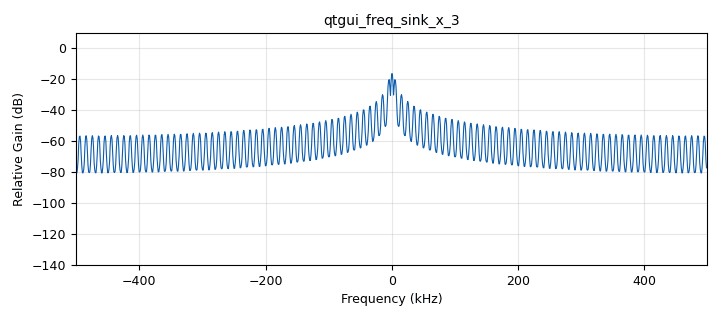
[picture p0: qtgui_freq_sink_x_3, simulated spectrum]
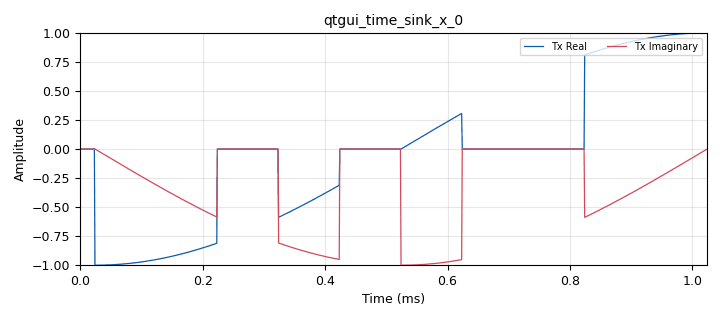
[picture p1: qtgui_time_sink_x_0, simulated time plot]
options:
  parameters:
    generate_options: qt_gui
    id: doppler_radar_example
    output_language: python
    title: Not titled yet
  states: {}

blocks:
- name: audio_gain
  id: variable_qtgui_range
  parameters:
    start: '0'
    step: '1'
    stop: '100'
    value: '1'
  states: {}
- name: center_freq
  id: variable
  parameters:
    value: '3500000000'
  states: {}
- name: rx_gain
  id: variable_qtgui_range
  parameters:
    start: '0'
    step: '1'
    stop: '70'
    value: '64'
  states: {}
- name: samp_rate
  id: variable
  parameters:
    value: 1e6
  states: {}
- name: samples_per_symbol
  id: variable
  parameters:
    value: '100'
  states: {}
- name: tx_attenuation
  id: variable_qtgui_range
  parameters:
    start: '0'
    step: '1'
    stop: '100'
    value: '40'
  states: {}
- name: tx_gain
  id: variable_qtgui_range
  parameters:
    start: '0'
    step: '1'
    stop: '70'
    value: '40'
  states: {}
- name: analog_sig_source_x_0
  id: analog_sig_source_x
  parameters:
    amp: '1'
    freq: '500'
    offset: '0'
    phase: '0'
    samp_rate: samp_rate
    type: complex
    waveform: analog.GR_COS_WAVE
  states: {}
- name: audio_sink_0
  id: audio_sink
  parameters:
    samp_rate: '48000'
  states: {state: disabled}
- name: band_reject_filter_0
  id: band_reject_filter
  parameters:
    decim: '1'
    gain: '1'
    high_cutoff_freq: '505'
    low_cutoff_freq: '495'
    samp_rate: samp_rate/50
    type: fir_filter_ccf
    width: '5'
    win: window.WIN_HAMMING
  states: {state: disabled}
- name: blocks_complex_to_real_0
  id: blocks_complex_to_real
  parameters: {}
  states: {state: disabled}
- name: blocks_multiply_const_vxx_0
  id: blocks_multiply_const_vxx
  parameters:
    const: audio_gain
    type: complex
  states: {state: disabled}
- name: blocks_multiply_xx_0
  id: blocks_multiply_xx
  parameters:
    type: complex
  states: {}
- name: blocks_repeat_0
  id: blocks_repeat
  parameters:
    interp: samples_per_symbol
    type: complex
  states: {}
- name: blocks_vector_source_x_0
  id: blocks_vector_source_x
  parameters:
    repeat: 'True'
    type: complex
    vector: (0, 1, 0, 1, 0, 0, 1, 1)
  states: {}
- name: iio_pluto_sink_0
  id: iio_pluto_sink
  parameters:
    attenuation1: tx_attenuation
    bandwidth: '20000000'
    buffer_size: '32768'
    cyclic: 'False'
    filter_source: '''Auto'''
    frequency: '3500000000'
    samplerate: int(samp_rate)
    type: fc32
    uri: ip:192.168.2.1
  states: {}
- name: iio_pluto_source_0
  id: iio_pluto_source
  parameters:
    bandwidth: '20000000'
    bbdc: 'True'
    buffer_size: '32768'
    filter_source: '''Auto'''
    frequency: int(center_freq)
    gain1: '''manual'''
    manual_gain1: '64'
    quadrature: 'True'
    rfdc: 'True'
    samplerate: int(samp_rate)
    type: fc32
    uri: ip:192.168.2.1
  states: {}
- name: qtgui_freq_sink_x_0
  id: qtgui_freq_sink_x
  parameters:
    bw: samp_rate
    fc: '0'
    fftsize: '8192'
    label1: Rx
    type: complex
  states: {}
- name: qtgui_freq_sink_x_1
  id: qtgui_freq_sink_x
  parameters:
    bw: samp_rate/50
    fc: '0'
    fftsize: '8192'
    label1: LPF
    type: complex
  states: {state: disabled}
- name: qtgui_freq_sink_x_2
  id: qtgui_freq_sink_x
  parameters:
    bw: samp_rate/50
    fc: '0'
    fftsize: '8192'
    label1: Band Reject
    type: complex
  states: {state: disabled}
- name: qtgui_freq_sink_x_3
  id: qtgui_freq_sink_x
  parameters:
    bw: samp_rate
    fc: '0'
    fftsize: '1024'
    type: complex
  states: {}
- name: qtgui_time_sink_x_0
  id: qtgui_time_sink_x
  parameters:
    label1: Tx Real
    label2: Tx Imaginary
    size: '1024'
    srate: samp_rate
    type: complex
  states: {}
- name: qtgui_time_sink_x_1
  id: qtgui_time_sink_x
  parameters:
    label1: Rx real
    label2: Rx Imaginary
    size: 1024*8
    srate: samp_rate
    type: complex
  states: {}
- name: qtgui_time_sink_x_2
  id: qtgui_time_sink_x
  parameters:
    label1: LPF Real
    label2: LPF Imaginary
    size: '1024'
    srate: samp_rate/50
    type: complex
  states: {state: disabled}
- name: qtgui_time_sink_x_3
  id: qtgui_time_sink_x
  parameters:
    label1: Band Reject Real
    label2: Band Reject Imaginary
    size: 1024*8
    srate: samp_rate/50
    type: complex
  states: {state: disabled}

connections:
- [analog_sig_source_x_0, '0', blocks_multiply_xx_0, '1']
- [band_reject_filter_0, '0', blocks_complex_to_real_0, '0']
- [band_reject_filter_0, '0', blocks_multiply_const_vxx_0, '0']
- [blocks_complex_to_real_0, '0', audio_sink_0, '0']
- [blocks_multiply_const_vxx_0, '0', qtgui_freq_sink_x_2, '0']
- [blocks_multiply_const_vxx_0, '0', qtgui_time_sink_x_3, '0']
- [blocks_multiply_xx_0, '0', iio_pluto_sink_0, '0']
- [blocks_multiply_xx_0, '0', qtgui_freq_sink_x_3, '0']
- [blocks_multiply_xx_0, '0', qtgui_time_sink_x_0, '0']
- [blocks_repeat_0, '0', blocks_multiply_xx_0, '0']
- [blocks_vector_source_x_0, '0', blocks_repeat_0, '0']
- [iio_pluto_source_0, '0', qtgui_freq_sink_x_0, '0']
- [iio_pluto_source_0, '0', qtgui_time_sink_x_1, '0']

metadata:
  file_format: 1
  grc_version: 3.10.10.0
